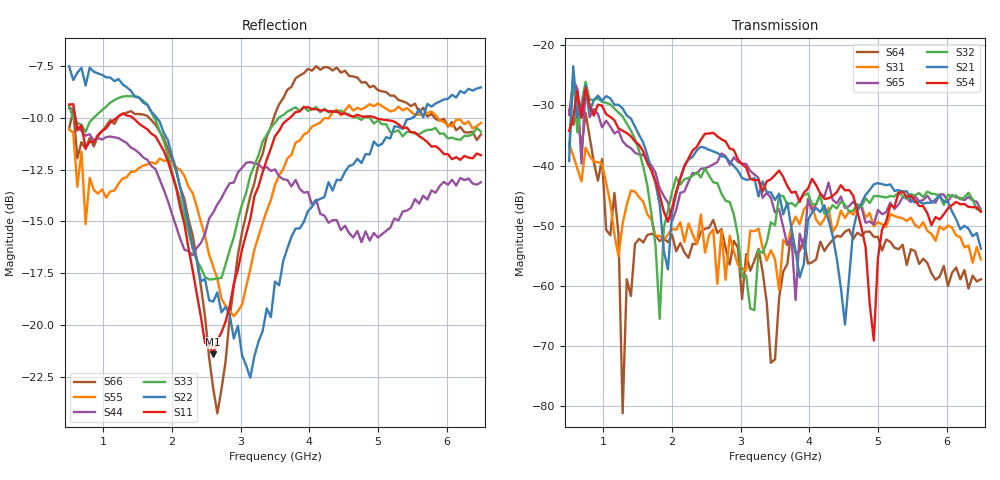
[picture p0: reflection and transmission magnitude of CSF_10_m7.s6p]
!Keysight Technologies,M9804A,MY58100912,A.14.10.03
!Date: Thursday, April 27, 2023 10:28:33
!Correction: S11(C  6-Port  )
!S12(C  6-Port  )
!S13(C  6-Port  )
!S14(C  6-Port  )
!S15(C  6-Port  )
!S16(C  6-Port  )
!S21(C  6-Port  )
!S22(C  6-Port  )
!S23(C  6-Port  )
!S24(C  6-Port  )
!S25(C  6-Port  )
!S26(C  6-Port  )
!S31(C  6-Port  )
!S32(C  6-Port  )
!S33(C  6-Port  )
!S34(C  6-Port  )
!S35(C  6-Port  )
!S36(C  6-Port  )
!S41(C  6-Port  )
!S42(C  6-Port  )
!S43(C  6-Port  )
!S44(C  6-Port  )
!S45(C  6-Port  )
!S46(C  6-Port  )
!S51(C  6-Port  )
!S52(C  6-Port  )
!S53(C  6-Port  )
!S54(C  6-Port  )
!S55(C  6-Port  )
!S56(C  6-Port  )
!S61(C  6-Port  )
!S62(C  6-Port  )
!S63(C  6-Port  )
!S64(C  6-Port  )
!S65(C  6-Port  )
!S66(C  6-Port  )
!S6P File: Measurement: :
# Hz S  RI  R 50
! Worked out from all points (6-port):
!   101 points, 500 MHz to 6.5 GHz, reference 50 ohm
!   strongest paths, dB at 500 MHz, 2 GHz, 3.5 GHz, 5 GHz, 6.5 GHz:
!     S54: -34.2, -47.1, -41.6, -55.4, -47.7
!     S21: -39.3, -47.9, -45.7, -42.9, -53.8
!     S32: -37.2, -44.4, -49.9, -45.1, -47.3
!     S65: -31.6, -49.3, -47.8, -47.4, -47.4
!     S31: -36.4, -50.5, -55.6, -49.4, -55.6
!     S64: -30.7, -51.5, -72.2, -51.9, -58.9
!   lowest |S11| = -21.4 dB at 2.6 GHz (marker M1), VSWR 1.19, Z = 42.5 + j2.19 ohm
!   |S11| at or under -10 dB: 591.5 MHz to 1.189 GHz (597.1 MHz wide, 67.1 % of centre); 1.431 GHz to 3.713 GHz (2.282 GHz wide, 88.7 % of centre); 4.973 GHz to end of sweep
